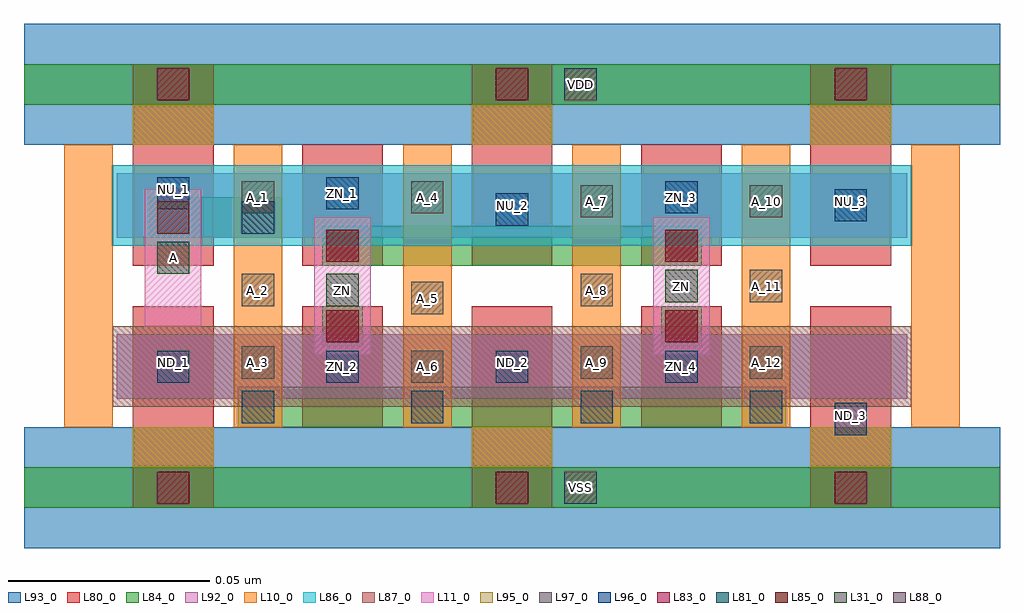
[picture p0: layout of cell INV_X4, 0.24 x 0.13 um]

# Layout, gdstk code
import gdstk
lib = gdstk.Library(unit=1e-6, precision=1e-09)
def R(c, l, rs):  # rectangles x0, y0, x1, y1
    for r in rs: c.add(gdstk.rectangle(r[:2], r[2:], *l))
def A(c, l, x, y, w, h, nx, ny, dx, dy):  # array of equal rectangles
    R(c, l, [(x+i*dx, y+j*dy, x+i*dx+w, y+j*dy+h) for i in range(nx) for j in range(ny)])
L10_0 = (10, 0)
L11_0 = (11, 0)
L31_0 = (31, 0)
L80_0 = (80, 0)
L81_0 = (81, 0)
L83_0 = (83, 0)
L84_0 = (84, 0)
L85_0 = (85, 0)
L86_0 = (86, 0)
L87_0 = (87, 0)
L88_0 = (88, 0)
L92_0 = (92, 0)
L93_0 = (93, 0)
L95_0 = (95, 0)
L96_0 = (96, 0)
L97_0 = (97, 0)

inv_x4 = lib.new_cell('INV_X4')
A(inv_x4, L10_0, -0.027, 0.015, 0.012, 0.07, 6, 1, 0.042, 0)
R(inv_x4, L11_0, [(0.035,0.033,0.049,0.067), (0.119,0.033,0.133,0.067), (-0.007,0.04,0.007,0.074)])
R(inv_x4, L31_0, [(0.038,0.045,0.046,0.053), (0.122,0.046,0.13,0.054), (-0.004,0.053,0.004,0.061)])
A(inv_x4, L80_0, -0.01, -0.005, 0.02, 0.03, 3, 2, 0.084, 0.08)
A(inv_x4, L80_0, -0.01, 0.015, 0.02, 0.03, 5, 2, 0.042, 0.04)
A(inv_x4, L81_0, 0.017, 0.016, 0.008, 0.008, 4, 1, 0.042, 0)
R(inv_x4, L81_0, [(0.017,0.063,0.025,0.071)])
A(inv_x4, L83_0, -0.004, -0.004, 0.008, 0.008, 3, 2, 0.084, 0.1)
R(inv_x4, L83_0, [(0.038,0.036,0.046,0.044), (0.122,0.036,0.13,0.044), (0.038,0.056,0.046,0.064), (0.122,0.056,0.13,0.064)])
A(inv_x4, L84_0, 0.016, 0.015, 0.031, 0.01, 6, 1, 0.021, 0)
A(inv_x4, L84_0, 0.037, 0.055, 0.031, 0.01, 4, 1, 0.021, 0)
R(inv_x4, L84_0, [(-0.037,-0.005,0.205,0.005), (0.037,0.035,0.047,0.045), (0.121,0.035,0.131,0.045), (-0.006,0.062,0.027,0.072), (-0.037,0.095,0.205,0.105)])
R(inv_x4, L85_0, [(0.038,0.036,0.046,0.044), (0.122,0.036,0.13,0.044), (0.038,0.056,0.046,0.064), (0.122,0.056,0.13,0.064), (-0.004,0.063,0.004,0.071)])
R(inv_x4, L86_0, [(-0.015,0.06,0.183,0.08)])
R(inv_x4, L87_0, [(-0.015,0.02,0.183,0.04)])
R(inv_x4, L88_0, [(0.097,-0.004,0.105,0.004), (0.097,0.096,0.105,0.104)])
R(inv_x4, L92_0, [(-0.014,0.022,0.182,0.038), (-0.014,0.062,0.182,0.078)])
R(inv_x4, L93_0, [(-0.037,-0.015,0.205,0.015), (-0.037,0.085,0.205,0.115)])
A(inv_x4, L95_0, -0.01, 0.005, 0.02, 0.01, 3, 2, 0.084, 0.08)
A(inv_x4, L96_0, -0.004, 0.026, 0.008, 0.008, 4, 1, 0.042, 0)
R(inv_x4, L96_0, [(0.164,0.013,0.172,0.021), (0.08,0.065,0.088,0.073), (0.164,0.066,0.172,0.074), (0.122,0.068,0.13,0.076), (-0.004,0.069,0.004,0.077), (0.038,0.069,0.046,0.077)])
R(inv_x4, L97_0, [(0.059,0.026,0.067,0.034), (0.017,0.027,0.025,0.035), (0.101,0.027,0.109,0.035), (0.143,0.027,0.151,0.035), (0.059,0.043,0.067,0.051), (0.017,0.045,0.025,0.053), (0.101,0.045,0.109,0.053), (0.143,0.046,0.151,0.054), (0.101,0.067,0.109,0.075), (0.143,0.067,0.151,0.075), (0.017,0.068,0.025,0.076), (0.059,0.068,0.067,0.076)])
inv_x4.add(gdstk.Label('NU_1', (0,0.074), layer=96, texttype=0))
inv_x4.add(gdstk.Label('NU_2', (0.084,0.07), layer=96, texttype=0))
inv_x4.add(gdstk.Label('NU_3', (0.168,0.071), layer=96, texttype=0))
inv_x4.add(gdstk.Label('ND_3', (0.168,0.018), layer=96, texttype=0))
inv_x4.add(gdstk.Label('ND_2', (0.084,0.031), layer=96, texttype=0))
inv_x4.add(gdstk.Label('ND_1', (0,0.031), layer=96, texttype=0))
inv_x4.add(gdstk.Label('ZN_1', (0.042,0.073), layer=96, texttype=0))
inv_x4.add(gdstk.Label('ZN_2', (0.042,0.03), layer=96, texttype=0))
inv_x4.add(gdstk.Label('ZN_3', (0.126,0.072), layer=96, texttype=0))
inv_x4.add(gdstk.Label('ZN_4', (0.126,0.03), layer=96, texttype=0))
inv_x4.add(gdstk.Label('ZN', (0.042,0.049), layer=31, texttype=0))
inv_x4.add(gdstk.Label('A', (0,0.057), layer=31, texttype=0))
inv_x4.add(gdstk.Label('ZN', (0.126,0.05), layer=31, texttype=0))
inv_x4.add(gdstk.Label('A_1', (0.021,0.072), layer=97, texttype=0))
inv_x4.add(gdstk.Label('A_2', (0.021,0.049), layer=97, texttype=0))
inv_x4.add(gdstk.Label('A_3', (0.021,0.031), layer=97, texttype=0))
inv_x4.add(gdstk.Label('A_4', (0.063,0.072), layer=97, texttype=0))
inv_x4.add(gdstk.Label('A_5', (0.063,0.047), layer=97, texttype=0))
inv_x4.add(gdstk.Label('A_6', (0.063,0.03), layer=97, texttype=0))
inv_x4.add(gdstk.Label('A_7', (0.105,0.071), layer=97, texttype=0))
inv_x4.add(gdstk.Label('A_8', (0.105,0.049), layer=97, texttype=0))
inv_x4.add(gdstk.Label('A_9', (0.105,0.031), layer=97, texttype=0))
inv_x4.add(gdstk.Label('A_12', (0.147,0.031), layer=97, texttype=0))
inv_x4.add(gdstk.Label('A_11', (0.147,0.05), layer=97, texttype=0))
inv_x4.add(gdstk.Label('A_10', (0.147,0.071), layer=97, texttype=0))
inv_x4.add(gdstk.Label('VDD', (0.101,0.1), layer=88, texttype=0))
inv_x4.add(gdstk.Label('VSS', (0.101,0), layer=88, texttype=0))

lib.write_gds('INV_X4.gds')
